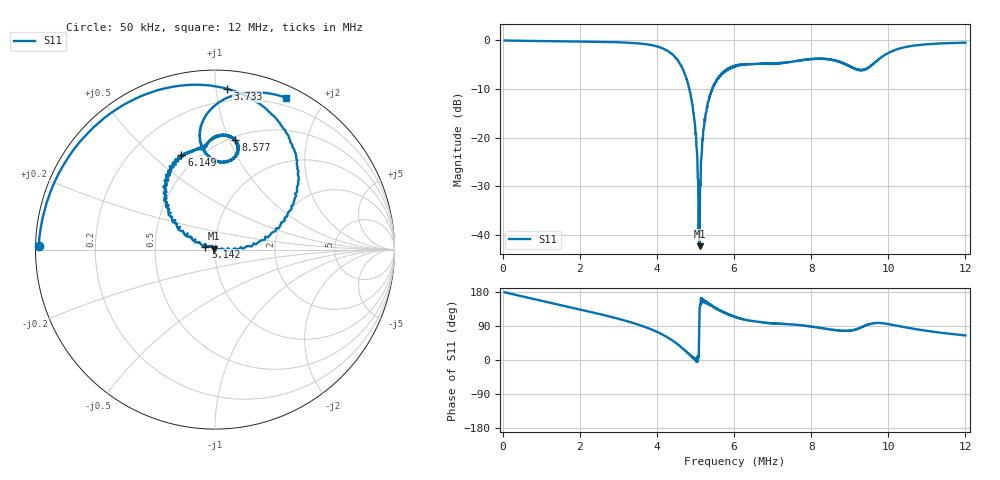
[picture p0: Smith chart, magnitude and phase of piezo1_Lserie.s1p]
# Hz S RI R 50
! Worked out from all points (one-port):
!   1010 points, 50 kHz to 12 MHz, reference 50 ohm
!   lowest |S11| = -42.2 dB at 5.107 MHz (marker M1), VSWR 1.02, Z = 49.5 + j0.551 ohm
!   |S11| at or under -10 dB: 4.839 MHz to 5.435 MHz (596 kHz wide, 11.6 % of centre)
!   S11 on the Smith chart (normalised r, x): 50 kHz: 0.01, +0.01; 3.733 MHz: 0.12, +1.07; 5.142 MHz: 0.90, +0.03; 6.149 MHz: 0.41, +0.63; 8.577 MHz: 0.53, +1.06; 12 MHz: 0.12, +1.57
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50000  -0.9833 0.0202
796100  -0.92 0.3123
1554043  -0.7796 0.567
2323843  -0.5616 0.7733
3046186  -0.2835 0.8971
3733129  0.0688 0.895
4159429  0.3274 0.7452
4538429  0.4643 0.4119
4751629  0.3881 0.1621
4893772  0.2485 0.0458
4988472  0.1352 0.00147
5012172  0.1099 0.00402
5059572  0.0378 0.00684
5106872  -0.00536 0.00557
5142472  -0.0541 0.0164
5177972  -0.088 0.0405
5237172  -0.1373 0.0735
5379272  -0.2335 0.1529
5616172  -0.2862 0.3148
6030715  -0.2186 0.5012
6149115  -0.1876 0.528
7522858  -0.0372 0.5959
8576901  0.114 0.6127
9015101  0.1114 0.5242
9382201  0.00487 0.4908
9773044  -0.0873 0.6344
1.050734e7  0.0737 0.8485
1.199959e7  0.3965 0.8463
